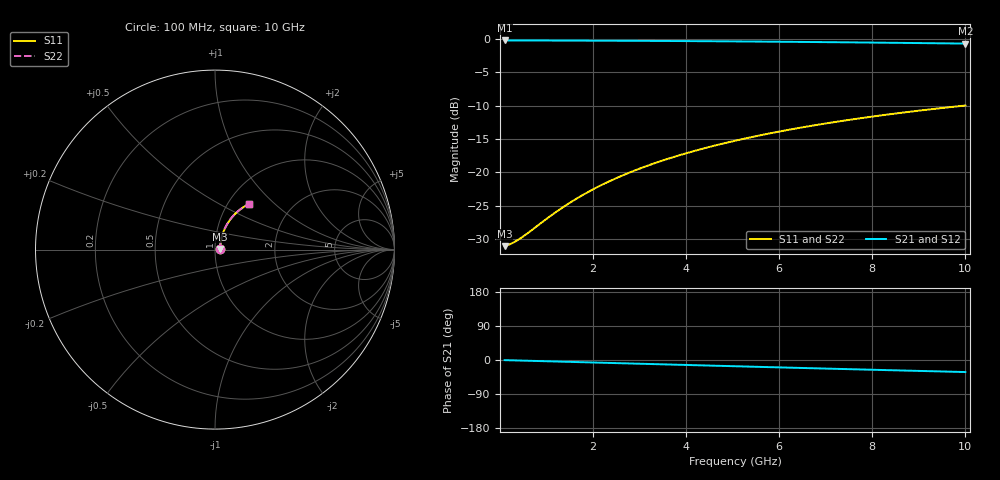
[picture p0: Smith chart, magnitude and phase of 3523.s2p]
# Hz S RI R 50.00
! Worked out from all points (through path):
!   100 points, 100 MHz to 10 GHz, reference 50 ohm
!   highest |S21| = -0.24 dB at 100 MHz (marker M1); lowest = -0.7 dB at 10 GHz (marker M2)
!   group delay of S21, straight-line fit = 8.85 ps
!   lowest |S11| = -31.1 dB at 100 MHz (marker M3), VSWR 1.06, Z = 52.8 + j0.348 ohm
!   |S11| at or under -10 dB: start of sweep to 9.999 GHz
!   |S22| runs from -31.1 to -10.0 dB; largest |S21 - S12| = 0
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1e8  0.0277 0.00329  0.9723 -0.00559  0.9723 -0.00559  0.0277 0.00329
2e8  0.0279 0.00657  0.972 -0.0112  0.972 -0.0112  0.0279 0.00657
3e8  0.0282 0.00985  0.9718 -0.0168  0.9718 -0.0168  0.0282 0.00985
4e8  0.0284 0.0131  0.9715 -0.0224  0.9715 -0.0224  0.0284 0.0131
6e8  0.029 0.0197  0.9709 -0.0335  0.9709 -0.0335  0.029 0.0197
1e9  0.0304 0.0327  0.9693 -0.0558  0.9693 -0.0558  0.0304 0.0327
1.3e9  0.0319 0.0424  0.9677 -0.0724  0.9677 -0.0724  0.0319 0.0424
1.5e9  0.033 0.0489  0.9664 -0.0835  0.9664 -0.0835  0.033 0.0489
1.8e9  0.035 0.0585  0.9641 -0.1  0.9641 -0.1  0.035 0.0585
2.1e9  0.0373 0.068  0.9615 -0.1164  0.9615 -0.1164  0.0373 0.068
2.5e9  0.0408 0.0805  0.9575 -0.1382  0.9575 -0.1382  0.0408 0.0805
2.9e9  0.0449 0.0929  0.9528 -0.1598  0.9528 -0.1598  0.0449 0.0929
3.4e9  0.0508 0.108  0.9461 -0.1864  0.9461 -0.1864  0.0508 0.108
3.8e9  0.056 0.1197  0.94 -0.2074  0.94 -0.2074  0.056 0.1197
4.2e9  0.0618 0.1312  0.9333 -0.2282  0.9333 -0.2282  0.0618 0.1312
4.6e9  0.0681 0.1424  0.9261 -0.2486  0.9261 -0.2486  0.0681 0.1424
5.1e9  0.0766 0.1559  0.9162 -0.2737  0.9162 -0.2737  0.0766 0.1559
5.9e9  0.0917 0.1763  0.8988 -0.3126  0.8988 -0.3126  0.0917 0.1763
6.7e9  0.1083 0.195  0.8794 -0.3499  0.8794 -0.3499  0.1083 0.195
7.5e9  0.1263 0.2121  0.8583 -0.3856  0.8583 -0.3856  0.1263 0.2121
8.4e9  0.1479 0.2291  0.8326 -0.4235  0.8326 -0.4235  0.1479 0.2291
1e10  0.1892 0.2534  0.7831 -0.4852  0.7831 -0.4852  0.1892 0.2534
